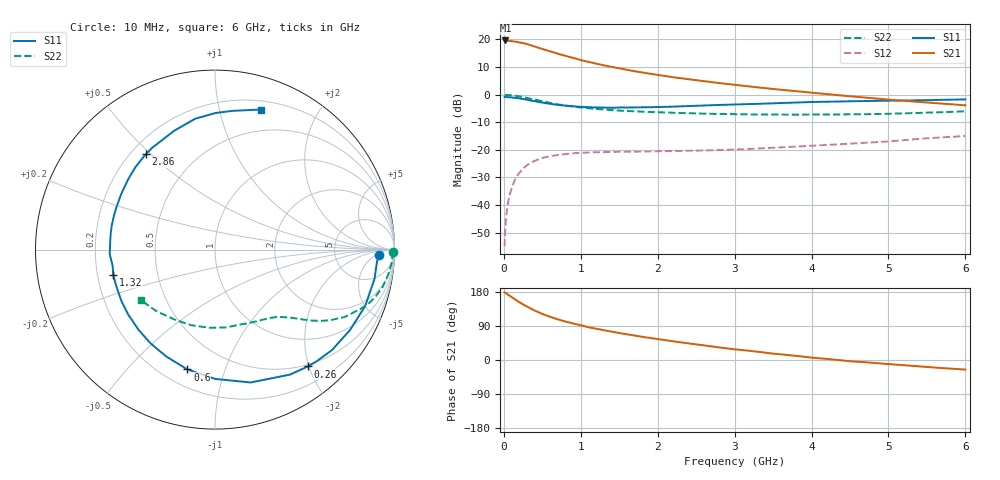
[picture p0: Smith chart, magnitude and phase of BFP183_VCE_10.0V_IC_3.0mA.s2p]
! Infineon Technologies  Discrete & RF Semiconductors
! BFP183
! VCE = 10.0V,  IC =  3.0 mA
! Common Emitter S-Parameters:  Jan 2016
# GHz  S  MA  R  50
!  f  S11  S21  S12  S22
! GHz  MAG  ANG  MAG  ANG  MAG  ANG  MAG  ANG
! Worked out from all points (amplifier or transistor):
!   210 points, 10 MHz to 6 GHz, reference 50 ohm
!   highest |S21| = 19.7 dB at 20 MHz (marker M1)
!   |S21| within 3 dB of that: start of sweep to 489.4 MHz
!   unconditionally stable (mu >= 1): 1.977 GHz to 5.881 GHz
!   at 185 MHz: K = 0.12, MSG = 24.0 dB, |S12| = -29.0 dB
!   at 1.52 GHz: K = 0.80, MSG = 15.1 dB, |S12| = -20.7 dB
!   at 6 GHz: K = 0.97, MSG = 5.6 dB, |S12| = -15.0 dB
!   S11 on the Smith chart (normalised r, x): 10 MHz: 19, -7; 260 MHz: 0.47, -1.98; 600 MHz: 0.30, -0.75; 1.32 GHz: 0.27, -0.11; 2.86 GHz: 0.26, +0.48; 6 GHz: 0.28, +1.35
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0.01  0.9117 -2.0  9.574 178.6  0.0018 83.0  0.9944 -0.8
0.02  0.9047 -4.4  9.606 177.5  0.004 84.4  0.989 -1.7
0.065  0.8978 -13.4  9.447 171.0  0.0131 81.3  0.9831 -5.4
0.15  0.8758 -30.8  9.145 159.3  0.0297 72.2  0.9575 -12.4
0.2  0.8591 -40.7  8.909 152.8  0.038 67.3  0.9347 -15.9
0.26  0.8316 -51.5  8.522 145.5  0.047 61.8  0.9005 -20.0
0.3  0.8124 -59.0  8.282 141.2  0.0527 58.4  0.874 -22.3
0.4  0.7664 -75.0  7.491 130.4  0.0632 50.8  0.8163 -27.3
0.5  0.7205 -89.9  6.727 121.5  0.0715 44.4  0.7601 -31.0
0.6  0.6853 -103.0  6.144 113.8  0.0768 39.4  0.7105 -34.0
0.7  0.6547 -114.4  5.522 107.3  0.0808 35.3  0.6683 -36.3
0.8  0.6335 -124.7  5.058 101.3  0.084 31.8  0.6353 -38.0
1.02  0.6012 -144.7  4.174 90.3  0.0885 26.6  0.5819 -41.0
1.1  0.5947 -151.3  3.944 86.3  0.09 25.2  0.5666 -42.0
1.32  0.583 -166.2  3.356 77.9  0.0914 22.1  0.5343 -44.7
1.6  0.5854 176.6  2.824 67.8  0.0924 20.2  0.506 -47.9
2.02  0.5981 156.5  2.26 54.6  0.0943 19.2  0.4794 -53.5
2.86  0.6557 125.9  1.588 31.7  0.0998 21.1  0.4455 -68.1
3.1  0.6701 119.2  1.454 26.2  0.1027 22.0  0.4391 -73.0
4.1  0.7407 96.8  1.056 4.6  0.1208 24.3  0.4358 -96.9
5.1  0.7822 81.6  0.793 -12.2  0.1462 24.5  0.4535 -123.3
6  0.822 71.7  0.642 -25.4  0.1784 19.3  0.5003 -145.9
